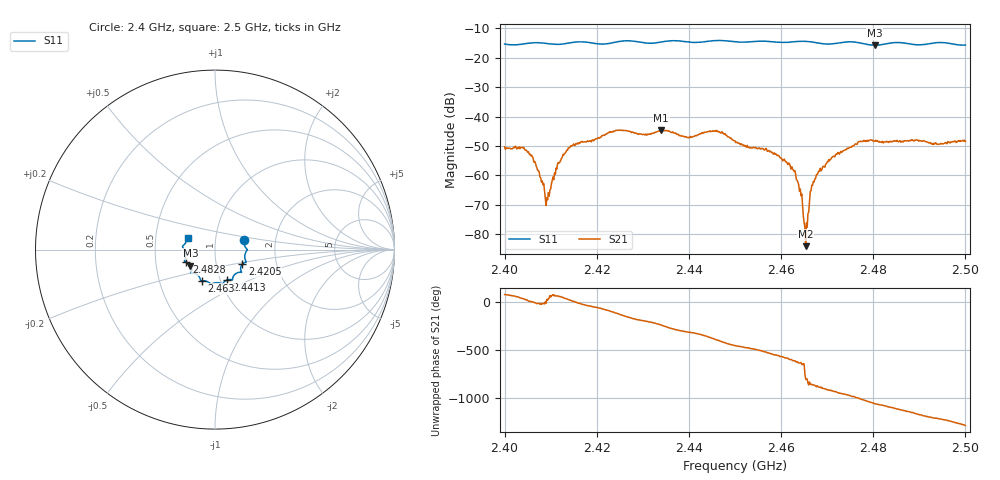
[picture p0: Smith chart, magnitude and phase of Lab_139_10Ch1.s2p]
# Hz S RI R 50
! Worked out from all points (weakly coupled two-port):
!   601 points, 2.4 GHz to 2.5 GHz, reference 50 ohm
!   highest |S21| = -44.56 dB at 2.434 GHz (marker M1); lowest = -84.1 dB at 2.4653 GHz (marker M2)
!   lowest |S11| = -15.7 dB at 2.4803 GHz (marker M3), VSWR 1.39, Z = 37.4 - j6.81 ohm
!   |S11| at or under -10 dB: start of sweep to end of sweep
!   S12 and S22 are empty: the file has one direction only
!   S11 on the Smith chart (normalised r, x): 2.4 GHz: 1.38, +0.15; 2.4205 GHz: 1.34, -0.22; 2.4413 GHz: 1.08, -0.38; 2.463 GHz: 0.82, -0.29; 2.4828 GHz: 0.72, -0.10; 2.5 GHz: 0.73, +0.10
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2.4e9  0.1627 0.0524  0.000643 0.00298  0 0  0 0
2.405667e9  0.1789 0.00178  0.00214 0.000203  0 0  0 0
2.409333e9  0.1741 -0.00964  0.000359 0.000131  0 0  0 0
2.412833e9  0.1664 -0.0465  0.00161 0.00154  0 0  0 0
2.416667e9  0.1737 -0.0695  0.00348 -0.00125  0 0  0 0
2.4205e9  0.1519 -0.0809  0.00201 -0.00378  0 0  0 0
2.433333e9  0.1005 -0.1516  -0.00367 0.00426  0 0  0 0
2.434e9  0.0989 -0.1572  -0.00301 0.00509  0 0  0 0
2.441333e9  0.0669 -0.1693  0.00383 0.00278  0 0  0 0
2.446167e9  0.0421 -0.1927  0.00444 -0.00329  0 0  0 0
2.45e9  0.0248 -0.1854  -0.000155 -0.00385  0 0  0 0
2.459e9  -0.0375 -0.1808  -0.00219 0.000389  0 0  0 0
2.463e9  -0.0723 -0.1737  -0.000436 0.00112  0 0  0 0
2.464e9  -0.0773 -0.1741  1.72e-05 0.000532  0 0  0 0
2.465333e9  -0.0801 -0.1728  1e-05 -6.12e-05  0 0  0 0
2.466667e9  -0.0813 -0.1674  -0.000509 -0.000443  0 0  0 0
2.468e9  -0.0845 -0.1576  -0.00102 -0.000412  0 0  0 0
2.4715e9  -0.1136 -0.1324  -0.00185 0.000985  0 0  0 0
2.480333e9  -0.1372 -0.0887  0.00343 0.00164  0 0  0 0
2.482833e9  -0.1588 -0.0698  0.00378 4.11e-05  0 0  0 0
2.483333e9  -0.1627 -0.0683  0.00357 -0.00059  0 0  0 0
2.5e9  -0.1519 0.0644  -0.00354 0.00133  0 0  0 0
